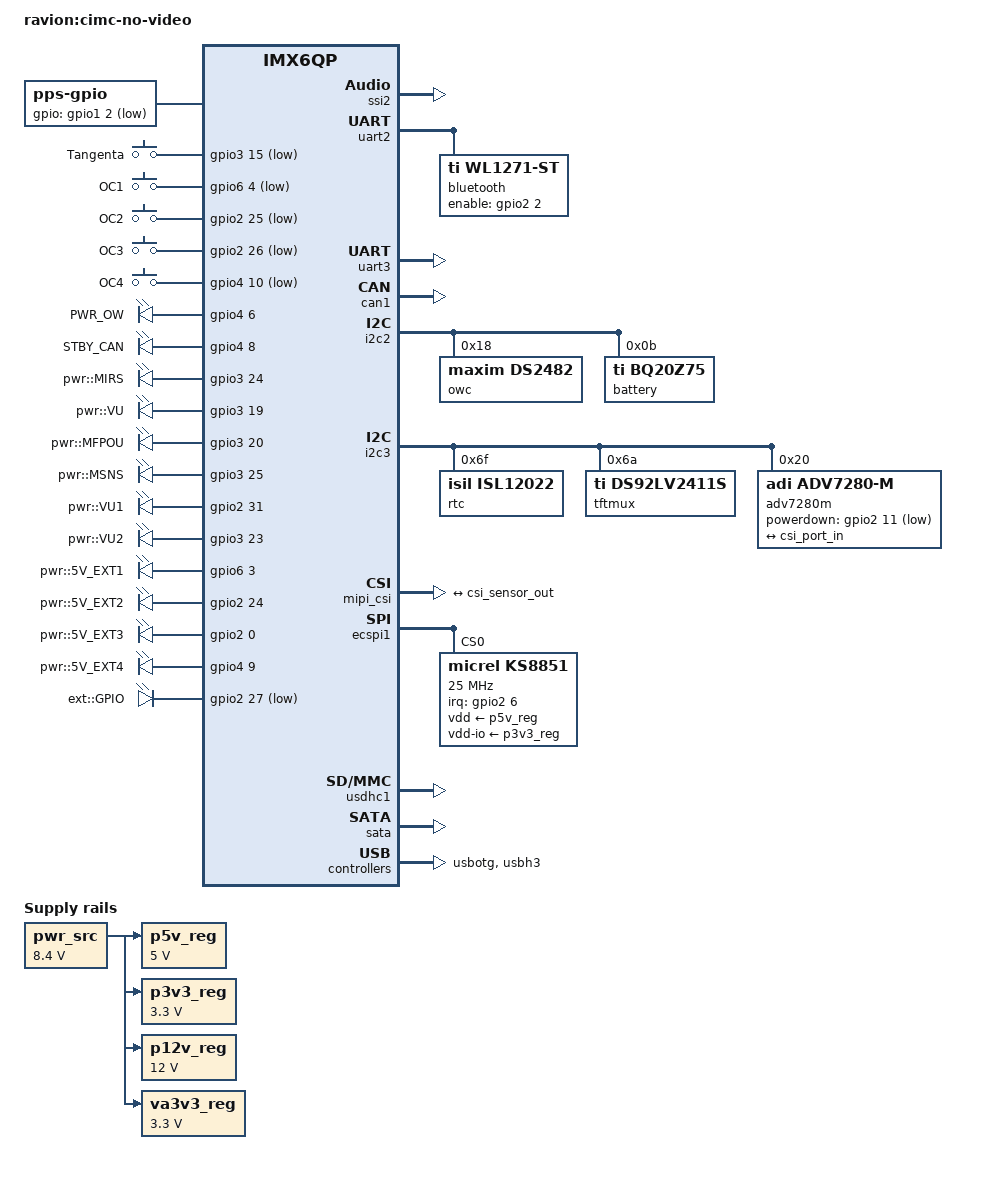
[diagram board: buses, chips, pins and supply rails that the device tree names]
/*
 * Copyright 2018 Radioavionica Corp.
 *
 * Author: Alex A. Mihaylov <minimumlaw@rambler.ru>
 *
 * This program is free software; you can redistribute it and/or modify
 * it under the terms of the GNU General Public License version 2 as
 * published by the Free Software Foundation.
 *
 */
/dts-v1/;
#include "imx6qp.dtsi"

#define SPI_CS_GPIO
#include "imx6qdl-ravion-v2.dtsi"

/ {
	model = "ravion:cimc-no-video";
	compatible = "ravion,imx6qp", "fsl,imx6qp";

	/*
	 * Device specific regulators
	 */
	pwr_src: regulator_power {
		compatible = "regulator-fixed";
		regulator-name = "BATT_IN";
		/* FixMe: 5...8.4V input voltage */
		regulator-min-microvolt = <8400000>;
		regulator-max-microvolt = <8400000>;
		regulator-boot-on;
		regulator-always-on;
	};

	p5v_reg: regulator_5v0 {
		compatible = "regulator-fixed";
		regulator-name = "P5V";
		regulator-min-microvolt = <5000000>;
		regulator-max-microvolt = <5000000>;
		vin-supply = <&pwr_src>;
		regulator-boot-on;
		regulator-always-on;
	};

	p3v3_reg: regulator_3v3 {
		compatible = "regulator-fixed";
		regulator-name = "P3V3";
		regulator-min-microvolt = <3300000>;
		regulator-max-microvolt = <3300000>;
		vin-supply = <&pwr_src>;
		regulator-boot-on;
		regulator-always-on;
	};

	p12v_reg: regulator_12v {
		compatible = "regulator-fixed";
		regulator-name = "P12V";
		regulator-min-microvolt = <12000000>;
		regulator-max-microvolt = <12000000>;
		vin-supply = <&pwr_src>;
		regulator-boot-on;
		regulator-always-on; /* XP61: enable/disable reg. */
	};

	va3v3_reg: regulator_3v3va {
		compatible = "regulator-fixed";
		regulator-name = "VA3V3";
		regulator-min-microvolt = <3300000>;
		regulator-max-microvolt = <3300000>;
		vin-supply = <&pwr_src>;
		regulator-boot-on;
		regulator-always-on;
	};

	pps {
		compatible = "pps-gpio";
		gpios	= <&gpio1  2 GPIO_ACTIVE_LOW>;		/* soDimm 055 */
	};

	gpio-keys {
		compatible = "gpio-keys";

		tangenta {
			label = "Tangenta";
			gpios = <&gpio3 15 GPIO_ACTIVE_LOW>;	/* soDimm 120 */
			linux,code = <KEY_F2>;
			debounce-interval = <100>;
			wakeup-source;
		};

		/*
		 * MACRO[1..4] key code point to overcurrent@5v consumer
		 */
		oc1 {
			label = "OC1";
			gpios = <&gpio6  4 GPIO_ACTIVE_LOW>;	/* soDimm 085 */
			linux,code = <KEY_MACRO1>;
			wakeup-source;
		};

		oc2 {
			label = "OC2";
			gpios = <&gpio2 25 GPIO_ACTIVE_LOW>;	/* soDimm 110 */
			linux,code = <KEY_MACRO2>;
			wakeup-source;
		};

		oc3 {
			label = "OC3";
			gpios = <&gpio2 26 GPIO_ACTIVE_LOW>;	/* soDimm 112 */
			linux,code = <KEY_MACRO3>;
			wakeup-source;
		};

		oc4 {
			label = "OC4";
			gpios = <&gpio4 10 GPIO_ACTIVE_LOW>;	/* soDimm 154 */
			linux,code = <KEY_MACRO4>;
			wakeup-source;
		};
	};

	gpio-leds {
		pinctrl-names = "default";
		pinctrl-0 = <&pinctrl_uart1gpio>;
		compatible = "gpio-leds";

		pwr_ow {
			label = "PWR_OW";
			gpios = <&gpio4 6 GPIO_ACTIVE_HIGH>;	/* soDimm 124 */
			default-state = "on";
		};

		stby_can {
			label = "STBY_CAN";
			gpios = <&gpio4  8 GPIO_ACTIVE_HIGH>;	/* soDimm 150 */
			default-state = "off";
		};

		pwr_mirs {
			label = "pwr::MIRS";
			gpios = <&gpio3 24 GPIO_ACTIVE_HIGH>;	/* soDimm 023 */
			default-state = "on";
		};

		pwr_vu {
			label = "pwr::VU";
			gpios = <&gpio3 19 GPIO_ACTIVE_HIGH>;	/* soDimm 025 */
			default-state = "on";
		};

		pwr_mfpou {
			label = "pwr::MFPOU";
			gpios = <&gpio3 20 GPIO_ACTIVE_HIGH>;	/* soDimm 027 */
			default-state = "on";
		};

		pwr_msns {
			label = "pwr::MSNS";
			gpios = <&gpio3 25 GPIO_ACTIVE_HIGH>;	/* soDimm 029 */
			default-state = "on";
		};

		pwr_vu1 {
			label = "pwr::VU1";
			gpios = <&gpio2 31 GPIO_ACTIVE_HIGH>;	/* soDimm 037 */
			default-state = "on";
		};

		pwr_vu2 {
			label = "pwr::VU2";
			gpios = <&gpio3 23 GPIO_ACTIVE_HIGH>;	/* soDimm 031 */
			default-state = "on";
		};

		pwr_5vext1 {
			label = "pwr::5V_EXT1";
			gpios = <&gpio6  3 GPIO_ACTIVE_HIGH>;	/* soDimm 059 */
			default-state = "on";
		};

		pwr_5vext2 {
			label = "pwr::5V_EXT2";
			gpios = <&gpio2 24 GPIO_ACTIVE_HIGH>;	/* soDimm 106 */
			default-state = "on";
		};

		pwr_5vext3 {
			label = "pwr::5V_EXT3";
			gpios = <&gpio2  0 GPIO_ACTIVE_HIGH>;	/* soDimm 111 */
			default-state = "on";
		};

		pwr_5vext4 {
			label = "pwr::5V_EXT4";
			gpios = <&gpio4  9 GPIO_ACTIVE_HIGH>;	/* soDimm 152 */
			default-state = "on";
		};

		ext_gpio {
			label = "ext::GPIO";
			gpios = <&gpio2 27 GPIO_ACTIVE_LOW>;	/* soDimm 114 */
			default-state = "on";
		};
	};
};

/*
 * Sound subsystem
 */
&ssi2	{	status = "okay";	};

/*
 * Video subsystems
 */
&hdmi {
	status = "disabled";	
};
/* TFT */
&tft_display_bus {
	status = "disabled";
};
/* LVDS */
&ldb {
		status = "disabled";
};

/*
 * Serial ports
 */
/* &uart1 {	status = "okay";	}; => Allways enabled */
&uart2 {
	status = "okay";

	bluetooth { /* DD19: CC2564CRVM */
		enable-gpios = <&gpio2 2 GPIO_ACTIVE_HIGH>;	/* soDimm 115 */
		compatible = "ti,wl1271-st";
		clocks = <&clk_32k_bt 0>;
		clock-names = "ext_clock";
		max-speed = <3686400>;
		current-speed = <115200>;
		status = "okay";

		clk_32k_bt: bt_clk {
			compatible = "fixed-clock";
			#clock-cells = <0>;
			clock-frequency = <32768>;
			clock-accuracy = <100>;
		};
	};
};
&uart3 {
	status = "okay";
};

/*
 * Controller Area Network (CAN) Bus
 */
&can1 {
	status = "okay";
};

/*
 * I2C Busses
 */
&i2c2 {	/* Compatible I2C: soDimm 194, 196 */
	status = "okay";

	owc: ds2482@18 { /* DS2484: I2C to OneWire Converter */
		status = "okay";
		compatible = "maxim,ds2482";
		reg = <0x18>;
	};

	battery@b {	/* SMBus battery */
		compatible = "ti,bq20z75", "sbs,sbs-battery";
		reg = <0xb>;
		sbs,i2c-retry-count = <2>;
		sbs,poll-retry-count = <10>;
	};
};

&i2c3 { /* Extended I2C: soDimm 128, 130 */
	status = "okay";

	rtc@6f { /* ISL12020: I2C Real Time Clock (battery backup) */
		compatible = "isil,isl12022";
		reg = <0x6f>;
	};

	tftmux@6a { /* DS92LV2411S - TFT bus to one diff-pair multiplexer */
		compatible = "ti,ds92lv2411s";
		reg = <0x6a>;
	};

	adv7280m@20 { /* ADV7280BCPZ - Composite video capture with MIPI interface */
		compatible = "adi,adv7280-m";
		powerdown-gpios = <&gpio2 11 GPIO_ACTIVE_LOW>;	/* soDimm 133 */
		reg = <0x20>;

		port {
			csi_sensor_out: endpoint {
				remote-endpoint = <&csi_port_in>;
				clock-lanes = <0>;
				data-lanes = <1>;
			};
		};
	};
};

&mipi_csi {
	status = "okay";

	port@0 {
		reg = <0>;
		csi_port_in: endpoint {
			remote-endpoint = <&csi_sensor_out>;
			clock-lanes = <0>;
			data-lanes = <1>;
		};
	};
};

/*
 * SPI Bus
 */
&ecspi1 {
	/delete-property/dmas;
	/delete-property/dma-names;
	status = "okay";

	ks8851@0 {
		reg = <0>;
		compatible = "micrel,ks8851";
		interrupts-extended = <&gpio2 6 IRQ_TYPE_LEVEL_LOW>;   /* soDimm123 */
		vdd-supply = <&p5v_reg>;
		vdd-io-supply = <&p3v3_reg>;
		spi-max-frequency = <25000000>; /* 25MHz, max 40MHz */
       };
};

/*
 * SD/MMC and eMMC controllers
 */
&usdhc1 {	status = "okay";	}; /* compatible */
&usdhc2 {	status = "disabled";	}; /* externed */
/* &usdhc3 {	status = "okay";	}; => eMMC allways enabled */

/*
 * Ethernet controller
 */
/* &fec {	status = "okay";	}; => eth0 allways enabled */

/*
 * Audio (digital part)
 */
/* &audmux {	status = "okay";	}; => Allways enabled */
/* &ssi1 {	status = "okay";	}; => Allways enabled */

/*
 * High-speed serial bus
 */

&sata {
	status = "okay";
};

/* &usbh1 {	status = "okay";	}; HOST => Allways enabled */

&usbotg	{ /* OTG */
	status = "okay";
};

&usbh3 { /* HSIC */
	status = "okay";
	#address-cells = <1>;
	#size-cells = <0>;
};

/*
 * PWMs
 */
&pwm3	{	status = "disabled";	};
&pwm4	{	status = "disabled";	};
